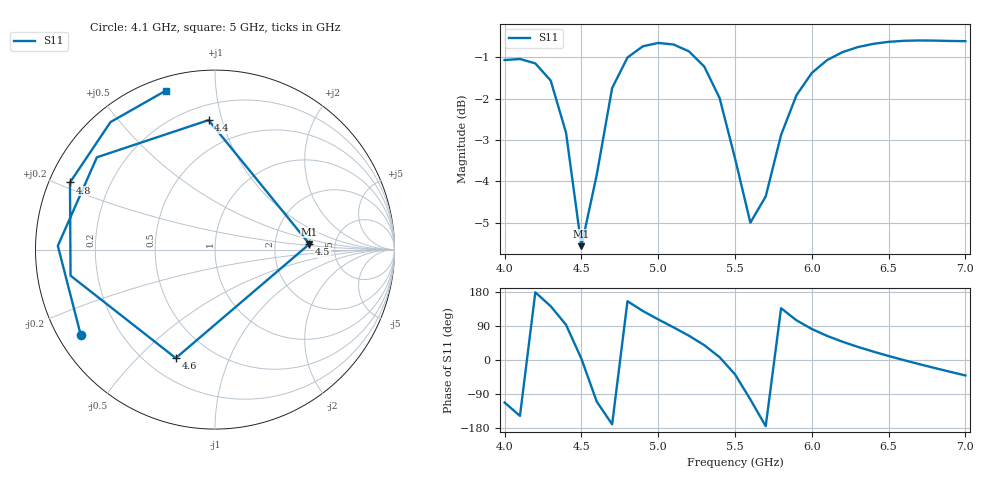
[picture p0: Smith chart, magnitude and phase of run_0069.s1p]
! Touchstone file exported from HFSS 2024.2.0
!  File:  C:/Users/wsak9/Desktop/Sim Fast/Widenad Patch/WP_AI_V1_sweep.aedt
!  Generated:  05:50:51 PM Oct 13, 2026
!  Design:  A1_model
!  Project:  WP_AI_V1_sweep
!  Setup:  Setup1
!  Solution:  Sweep
! Variables:
!  Air_gap = 2.85mm
!  Curve_Amp1 = 3.72
!  Curve_len1 = 1
!  Curve_pos = 12.895mm
!  Extra = 0.92mm
!  H_sub = 0.79mm
!  L_Patch = 21.79mm
!  L_Patch1 = 10.36mm
!  Sx = 0.62mm
!  Sy = 4.53mm
!  WS = 1.3mm
!  W_Patch = 12.86mm
!  W_Patch1 = 9.44mm
!Data is not renormalized
# GHz S MA
! Terminal data exported
! Port[1] = 1
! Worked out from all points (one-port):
!   31 points, 4 GHz to 7 GHz, reference per port
!   lowest |S11| = -5.6 dB at 4.5 GHz (marker M1), VSWR 3.23
!   |S11| at or under -10 dB: nowhere
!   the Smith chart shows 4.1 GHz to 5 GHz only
!   S11 on the Smith chart (normalised r, x): 4.1 GHz: 0.07, -0.29; 4.4 GHz: 0.30, +0.91; 4.5 GHz: 3.20, +0.28; 4.6 GHz: 0.32, -0.65; 4.8 GHz: 0.06, +0.22; 5 GHz: 0.06, +0.74
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4  0.8841 -112.3
4.1  0.8867 -147.5
4.2  0.8759 178.6
4.3  0.8351 142.0
4.4  0.7223 92.8
4.5  0.527 3.4
4.6  0.6428 -109.9
4.7  0.8178 -169.8
4.8  0.8903 155.2
4.9  0.9186 129.3
5  0.9272 107.2
5.1  0.9231 86.1
5.2  0.9058 64.1
5.3  0.8682 39.1
5.4  0.7952 7.3
5.5  0.6729 -37.9
5.6  0.5625 -104.1
5.7  0.6051 -174.6
5.8  0.718 136.7
5.9  0.8017 104.8
6  0.8529 81.8
6.1  0.8841 63.6
6.2  0.9038 48.2
6.3  0.9165 34.6
6.5  0.93 10.6
6.7  0.9336 -10.9
6.8  0.9332 -21.1
7  0.9318 -40.8
